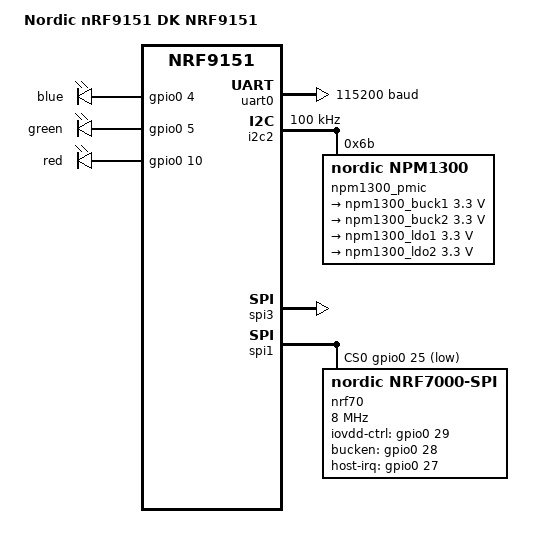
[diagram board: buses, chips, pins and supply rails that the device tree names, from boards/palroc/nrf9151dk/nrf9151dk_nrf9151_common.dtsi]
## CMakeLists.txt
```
#
# Copyright (c) 2016 Intel Corporation
#
# SPDX-License-Identifier: Apache-2.0
#

cmake_minimum_required(VERSION 3.20.0)
list(APPEND BOARD_ROOT ${CMAKE_CURRENT_SOURCE_DIR})
find_package(Zephyr REQUIRED HINTS $ENV{ZEPHYR_BASE})
project(nrf_connect_sdk_fundamentals)

target_sources(app PRIVATE
	src/main.c
	src/leds.c
	src/i2c_probe.c
	src/npm1300.c
	src/spi_probe.c
	src/modem.c
	src/gnss.c
	src/wifi_probe.c
	src/provisioning.c
	src/uart_chat.c
	src/test_report.c
	src/diag.c
)
```

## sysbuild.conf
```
# Disable MCUboot for bring-up builds.
# Without MCUboot, the app runs directly from address 0x0.
SB_CONFIG_BOOTLOADER_MCUBOOT=n

# nRF7000 Wi-Fi enablement. Per NCS 3.x docs, the nRF70 operating-mode
# and firmware-handling Kconfigs are FORCED from sysbuild — whatever we
# put in prj.conf for CONFIG_WIFI_NRF70 / CONFIG_NRF70_SCAN_ONLY /
# CONFIG_NRF_WIFI_PATCHES_BUILTIN is overridden by these SB_CONFIG_*
# equivalents. Sysbuild is the single source of truth for nrf70.
SB_CONFIG_WIFI_NRF70=y
SB_CONFIG_WIFI_NRF70_SCAN_ONLY=y
SB_CONFIG_WIFI_PATCHES_EXT_FLASH_DISABLED=y
```

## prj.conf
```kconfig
#
# Copyright (c) 2016 Intel Corporation
#
# SPDX-License-Identifier: Apache-2.0
#

# RTT console — routes printk() to RTT channel 0 via SWD, no UART needed
CONFIG_USE_SEGGER_RTT=y
CONFIG_RTT_CONSOLE=y
CONFIG_LOG_BACKEND_RTT=y

# Disable UART console
CONFIG_UART_CONSOLE=n
CONFIG_LOG_BACKEND_UART=n

CONFIG_LOG=y
CONFIG_CONSOLE=y

# %f support in LOG_INF/test_report — needed for the IMU accel m/s²
# readout. Picolibc defaults to integer-only printf to save flash.
CONFIG_CBPRINTF_FP_SUPPORT=y

# Inter-MCU link to the L15: nrf-sw-lpuart on the `dut-uart` alias
# (uart0 + REQ/RDY GPIO handshake — board-level wiring already done in
# the nova 9151 dtsi). The underlying UART_0_ASYNC + TIMER2 config
# lives in the board's _ns_defconfig; only the driver enable belongs
# here at app level.
CONFIG_NRF_SW_LPUART=y
CONFIG_NRF_SW_LPUART_INT_DRIVEN=y
CONFIG_UART_INTERRUPT_DRIVEN=y

# Bring-up: i2c2 + spi3 + GPIO for raw probes
CONFIG_I2C=y
CONFIG_SPI=y
CONFIG_GPIO=y
CONFIG_REGULATOR=y
CONFIG_SENSOR=y

# nPM1300 PMIC — read VBAT/NTC/IBAT via the npm13xx charger sensor driver.
# (Kconfig path is npm13xx, NOT npm1300 — driver was renamed in NCS 3.3.0.
# Note: the charger Kconfig is CONFIG_NPM1300_CHARGER, with no SENSOR_
# prefix — the sensor framework picks it up via the binding.)
CONFIG_MFD=y
CONFIG_MFD_NPM1300=y
CONFIG_REGULATOR_NPM1300=y
CONFIG_NPM1300_CHARGER=y

# Step 4 — minimal modem probe: just init + one AT command, no LTE attach.
CONFIG_NRF_MODEM_LIB=y

# Step 5 — LTE attach (NB-IoT preferred, Telekom DE).
# Step 10 — GNSS added to system_mode so AT+CFUN=31 actually has something
# to activate. NETWORK_MODE_NBIOT_GPS = NB-IoT + GNSS in system_mode (the
# plain NETWORK_MODE_NBIOT excludes GNSS, which made AT+CFUN=31 fail with
# CME error 65536 "ERROR" because there was no GNSS subsystem to wake up).
CONFIG_LTE_LINK_CONTROL=y
CONFIG_LTE_NETWORK_MODE_NBIOT_GPS=y
CONFIG_MAIN_STACK_SIZE=4096

# Diagnostics for the silent-reset during attach
CONFIG_HWINFO=y
CONFIG_LTE_LINK_CONTROL_LOG_LEVEL_INF=y
CONFIG_NRF_MODEM_LIB_LOG_LEVEL_INF=y
# 2048 (was 4096) — trimmed to claw back RAM for the nRF Cloud/CoAP
# stack added for A-GNSS. Log throughput is unaffected for our cadence.
CONFIG_LOG_BUFFER_SIZE=2048

# Step 13 — nRF7000 Wi-Fi (passive scan only, per the supply-margin
# constraint on nPM1300 BUCKs ~250 mA; see steps.md step 9).
#
# IMPORTANT: in NCS 3.x the nRF70 operating-mode + firmware-handling
# Kconfigs are FORCED from sysbuild — whatever we put in this file for
# CONFIG_WIFI_NRF70 / CONFIG_NRF70_* / CONFIG_NRF_WIFI_PATCHES_* is
# overridden by the SB_CONFIG_* equivalents in sysbuild.conf. Setting
# them here is at best redundant and at worst causes a duplicate-CMake-
# target build error. Only the generic networking + Wi-Fi mgmt + heap
# stay here.
CONFIG_NETWORKING=y
CONFIG_NET_L2_WIFI_MGMT=y
CONFIG_NET_MGMT=y
CONFIG_NET_MGMT_EVENT=y
CONFIG_NET_MGMT_EVENT_INFO=y
CONFIG_WIFI=y

# Heap for nrf70 patch + scratch buffers. Iterated down to 56 KB on the
# 9151 + TF-M-NS build (150K -> 96K -> 56K).
CONFIG_HEAP_MEM_POOL_SIZE=57344
CONFIG_SYSTEM_WORKQUEUE_STACK_SIZE=4096

# nRF7000's OTP MAC is unprogrammed on dev boards (`MAC addr not
# programmed in OTP`). Ask the driver to invent a locally-administered
# random MAC at startup so the netif can start. Removed for production
# builds (parts come MAC-provisioned from Nordic).
CONFIG_WIFI_RANDOM_MAC_ADDRESS=y

# === nRF Cloud base (shared by A-GNSS demo + the provisioning overlay) ===
CONFIG_NRF_CLOUD=y
CONFIG_NRF_CLOUD_CLIENT_ID_SRC_INTERNAL_UUID=y

# Device identity / JWT / key management (claim token, cert checks, JWT)
CONFIG_MODEM_JWT=y
CONFIG_MODEM_ATTEST_TOKEN=y
CONFIG_MODEM_KEY_MGMT=y
CONFIG_DATE_TIME=y

# Modem info — A-GNSS needs network/cell info (NRF_CLOUD_AGNSS depends on
# MODEM_INFO_ADD_NETWORK) and the provisioning auth path uses the modem
# firmware version.
CONFIG_MODEM_INFO=y
CONFIG_MODEM_INFO_ADD_NETWORK=y

# Sockets for the CoAP client + date_time. Routed to the modem via the
# nRF Modem lib's socket offload (cloud traffic over LTE, not the Wi-Fi
# native stack that coexists for the nRF7000 scan).
CONFIG_NET_SOCKETS=y

# CoAP client (used by nRF Cloud CoAP and by the provisioning overlay)
CONFIG_COAP=y
CONFIG_COAP_EXTENDED_OPTIONS_LEN=y
CONFIG_COAP_EXTENDED_OPTIONS_LEN_VALUE=192
CONFIG_COAP_CLIENT=y
CONFIG_COAP_CLIENT_BLOCK_SIZE=1024
CONFIG_COAP_CLIENT_MESSAGE_SIZE=1024
CONFIG_COAP_CLIENT_STACK_SIZE=4096
CONFIG_COAP_CLIENT_THREAD_PRIORITY=0

# Settings storage (NVS auto-carved from the app region by the partition
# manager — no storage partition in the board DT).
CONFIG_FLASH=y
CONFIG_FLASH_MAP=y
CONFIG_NVS=y
CONFIG_SETTINGS=y
CONFIG_SETTINGS_NVS=y

# === A-GNSS Stage C: nRF Cloud CoAP A-GNSS ===
# Connect to nRF Cloud over CoAP and fetch GNSS assistance to inject into
# the modem for a fast fix even on a weak/blocked-sky signal. Requires
# the device to be provisioned first (build once with
# overlay-provision.conf — see that file). FILTERED ephemerides shrink
# the download (only visible-satellite ephemerides) to save RAM.
CONFIG_NRF_CLOUD_COAP=y
CONFIG_NRF_CLOUD_AGNSS=y
CONFIG_NRF_CLOUD_AGNSS_FILTERED=y
CONFIG_NRF_CLOUD_COAP_KEEPOPEN=y
# NRF_CLOUD_COAP selects LTE_PROPRIETARY_PSM_REQ, which needs the PSM
# module of lte_link_control enabled.
CONFIG_LTE_LC_PSM_MODULE=y

# Don't push device-status/shadow info on connect. The CONN_INF section
# defaults on and its shadow PATCH timed out right after auth (-116 ->
# connect returns -EIO), which we don't need for A-GNSS. Disabling it
# (the other sections are already off) makes the derived
# NRF_CLOUD_SEND_SHADOW_INFO go n too, so connect succeeds on auth alone.
CONFIG_NRF_CLOUD_SEND_DEVICE_STATUS_CONN_INF=n

# NOTE: the heavy nrf_provisioning library (RX/TX buffers + CBOR codec +
# its thread) is NOT in this build — it doesn't fit in RAM alongside
# Wi-Fi + the CoAP A-GNSS stack, and it's only needed once per board.
# Provision a new board with -DEXTRA_CONF_FILE=overlay-provision.conf,
# then build the normal demo (this file) which just uses the installed
# credentials.
```

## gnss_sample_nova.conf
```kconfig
# Overlay to run the NCS cellular/gnss sample on the palroc nova EVT2
# board (A/B vs the nRF9151 DK). Two things the stock sample needs here:
#
# 1. COEX0 -> external GNSS LNA enable. The modem_antenna library applies
#    AT%XCOEX0 EARLY (before any modem activity), which is exactly what
#    the %XCOEX0 datasheet requires (configuring it late = COEX0 stays
#    0 V = LNA off, the bug we hit in the bring-up firmware).
#    GNSS_ONBOARD's default COEX0 string is "AT%XCOEX0=1,1,1565,1586"
#    (GPS L1, COEX0 high during GNSS RX) — exactly our LNA control.
#
#    These are now also nova-board defaults (Kconfig.defconfig), but
#    keep them here as a hard override so the sample is self-contained.
CONFIG_MODEM_ANTENNA=y
CONFIG_MODEM_ANTENNA_GNSS_ONBOARD=y

# Turn the modem_antenna lib's DBG log into INFO so we actually see the
# "Setting configuration: AT%XCOEX0=..." line at boot — proves the hook
# fired and the command was sent (don't have to guess).
CONFIG_MODEM_ANTENNA_LOG_LEVEL_DBG=y

# NOTE: Thingy:91 X also sets AT%XMIPIRFFEDEV / AT%XMIPIRFFECTRL for its
# MIPI-RFFE-controlled antenna tuner. User confirmed our EVT2 does NOT
# include that RFFE tuner IC (and the Thingy's npm6001/BLE/COEX2 side
# isn't on our board either), so these commands are not added here.

# 2. Console + logging over RTT — the nova board has no UART console
#    (uart0 is the sw-lpuart link). Read output in the J-Link RTT viewer.
CONFIG_USE_SEGGER_RTT=y
CONFIG_RTT_CONSOLE=y
CONFIG_UART_CONSOLE=n
CONFIG_LOG_BACKEND_RTT=y
CONFIG_LOG_BACKEND_UART=n
```

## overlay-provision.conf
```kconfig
# One-time nRF Cloud device provisioning overlay.
#
# The nrf_provisioning library (RX/TX buffers + CBOR codec + its thread)
# is too heavy to fit in RAM alongside Wi-Fi + the CoAP A-GNSS stack, and
# it's only needed ONCE per board. So provisioning lives here, in an
# overlay you build separately:
#
#   west build -b nrf9151_nova_evt2/nrf9151/ns -d build_provision -p \
#     -- -DCONF_FILE=prj.conf \
#        -DEXTRA_CONF_FILE=overlay-provision.conf \
#        -DBOARD_ROOT=/home/oriol/PALROC_dev/NMS/phase2-hw/palroc_nova
#   west flash -d build_provision
#
# Press Hall 2, wait for "provisioning complete", then build + flash the
# normal demo (prj.conf, no overlay) which uses the installed credentials
# for CoAP A-GNSS. provisioning_run() is compiled to a cert-check stub
# when this overlay is absent (CONFIG_NRF_PROVISIONING off).

CONFIG_NRF_PROVISIONING=y
CONFIG_NRF_PROVISIONING_COAP=y
CONFIG_NRF_PROVISIONING_AUTO_INIT=n
# Bundle the provisioning-service root CA; installed to tag 42 if empty.
CONFIG_NRF_PROVISIONING_WITH_CERT=y
CONFIG_NRF_PROVISIONING_ROOT_CA_SEC_TAG=42

# Provisioning message codec (CBOR)
CONFIG_NRF_PROVISIONING_CODEC=y
CONFIG_NRF_PROVISIONING_CBOR=y
CONFIG_ZCBOR=y
CONFIG_NRF_PROVISIONING_CBOR_RECORDS=20
CONFIG_NRF_PROVISIONING_RX_BUF_SZ=4096
CONFIG_NRF_PROVISIONING_TX_BUF_SZ=4096
CONFIG_NRF_PROVISIONING_CODEC_AT_CMD_LEN=2048

# The provisioning lib reboots after applying credentials, so sys_reboot()
# must be linkable.
CONFIG_REBOOT=y
```

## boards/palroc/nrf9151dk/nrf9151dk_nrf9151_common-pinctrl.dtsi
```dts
/*
 * Copyright (c) 2023 Nordic Semiconductor
 * SPDX-License-Identifier: Apache-2.0
 */

&pinctrl {
	uart0_default: uart0_default {
		group1 {
			psels = <NRF_PSEL(UART_TX, 0, 2)>,
				<NRF_PSEL(UART_RTS, 0, 6)>;
		};

		group2 {
			psels = <NRF_PSEL(UART_RX, 0, 3)>,
				<NRF_PSEL(UART_CTS, 0, 7)>;
			bias-pull-up;
		};
	};

	uart0_sleep: uart0_sleep {
		group1 {
			psels = <NRF_PSEL(UART_RX, 0, 3)>,
				<NRF_PSEL(UART_RTS, 0, 6)>,
				<NRF_PSEL(UART_CTS, 0, 7)>;
			low-power-enable;
		};

		group2 {
			psels = <NRF_PSEL(UART_TX, 0, 2)>;
			low-power-enable;
			bias-pull-up;
		};
	};

	i2c2_default: i2c2_default {
		group1 {
			psels = <NRF_PSEL(TWIM_SCL, 0, 8)>,
				<NRF_PSEL(TWIM_SDA, 0, 9)>;
			bias-pull-up;
		};
	};

	i2c2_sleep: i2c2_sleep {
		group1 {
			psels = <NRF_PSEL(TWIM_SCL, 0, 8)>,
				<NRF_PSEL(TWIM_SDA, 0, 9)>;
			low-power-enable;
		};
	};

	spi3_default: spi3_default {
		group1 {
			psels = <NRF_PSEL(SPIM_SCK,  0, 13)>,
				<NRF_PSEL(SPIM_MOSI, 0, 15)>,
				<NRF_PSEL(SPIM_MISO, 0, 14)>;
		};
	};

	spi3_sleep: spi3_sleep {
		group1 {
			psels = <NRF_PSEL(SPIM_SCK,  0, 13)>,
				<NRF_PSEL(SPIM_MOSI, 0, 15)>,
				<NRF_PSEL(SPIM_MISO, 0, 14)>;
			low-power-enable;
		};
	};

	/* SPI1 → nRF7000 Wi-Fi chip. Peripheral 1 chosen because peripherals
	 * 0 (uart0), 2 (i2c2), and 3 (spi3) are taken; only peripheral 1
	 * was free on the 9151's SERIAL constraint.
	 *   SCK  = P0.26
	 *   MOSI = P0.24
	 *   MISO = P0.23
	 *   CS   = P0.25 (managed via cs-gpios in &spi1, not pinctrl)
	 */
	spi1_default: spi1_default {
		group1 {
			psels = <NRF_PSEL(SPIM_SCK,  0, 26)>,
				<NRF_PSEL(SPIM_MOSI, 0, 24)>,
				<NRF_PSEL(SPIM_MISO, 0, 23)>;
		};
	};

	spi1_sleep: spi1_sleep {
		group1 {
			psels = <NRF_PSEL(SPIM_SCK,  0, 26)>,
				<NRF_PSEL(SPIM_MOSI, 0, 24)>,
				<NRF_PSEL(SPIM_MISO, 0, 23)>;
			low-power-enable;
		};
	};
};
```

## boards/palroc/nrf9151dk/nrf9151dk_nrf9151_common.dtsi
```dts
/*
 * Copyright (c) 2023 Nordic Semiconductor ASA
 *
 * SPDX-License-Identifier: Apache-2.0
 */
#include "nrf9151dk_nrf9151_common-pinctrl.dtsi"
#include <zephyr/dt-bindings/i2c/i2c.h>
#include <zephyr/dt-bindings/regulator/npm13xx.h>

/ {
	model = "Nordic nRF9151 DK NRF9151";
	compatible = "nordic,nrf9151-dk-nrf9151";

	chosen {
	};

	aliases {
		watchdog0 = &wdt0;
		led-blue  = &led_blue;
		led-green = &led_green;
		led-red   = &led_red;
	};

	/* On-board user LEDs driven through N-MOSFET low-side switches:
	 * GPIO high → MOSFET on → LED on, so they are active-high.
	 * (Confirmed by red LED behaviour during step 3 bring-up.)
	 */
	leds {
		compatible = "gpio-leds";

		led_blue: led_blue {
			gpios = <&gpio0 4 GPIO_ACTIVE_HIGH>;
			label = "blue";
		};

		led_green: led_green {
			gpios = <&gpio0 5 GPIO_ACTIVE_HIGH>;
			label = "green";
		};

		led_red: led_red {
			gpios = <&gpio0 10 GPIO_ACTIVE_HIGH>;
			label = "red";
		};
	};
};

/* uart0 must stay enabled — TF-M uses it during secure boot before handing
 * off to the non-secure app. Zephyr console is routed to RTT via prj.conf. */
&uart0 {
	status = "okay";
	current-speed = <115200>;
	pinctrl-0 = <&uart0_default>;
	pinctrl-1 = <&uart0_sleep>;
	pinctrl-names = "default", "sleep";
};

/* GPIO0 is disabled by default in nrf91_peripherals.dtsi — enable it so
 * the app can drive software CS pins (and any future GPIO-controlled
 * signals) via DEVICE_DT_GET(DT_NODELABEL(gpio0)).
 */
&gpio0 {
	status = "okay";
};

&gpiote {
	status = "okay";
};

/* Bare i2c2 bus on P0.08 (SCL) / P0.09 (SDA) — children added incrementally
 * as peripherals are brought up. App can grab the bus via DT_NODELABEL(i2c2).
 */
&i2c2 {
	compatible = "nordic,nrf-twim";
	status = "okay";
	clock-frequency = <I2C_BITRATE_STANDARD>;
	pinctrl-0 = <&i2c2_default>;
	pinctrl-1 = <&i2c2_sleep>;
	pinctrl-names = "default", "sleep";

	/* nPM1300 PMIC. Charger child exposes battery voltage, NTC temp,
	 * and average current via the Zephyr sensor API. The empty
	 * regulators block is required by the binding even if we don't
	 * actively control BUCK/LDO from software yet.
	 *
	 * Battery profile (term-microvolt / current-microamp) is a
	 * conservative placeholder — refine when an actual cell is profiled.
	 * Thermistor 10 kΩ NTC, β=3380 (typical Murata NCP15WB473D03RC);
	 * update if a different NTC is fitted.
	 */
	npm1300_pmic: npm1300@6b {
		compatible = "nordic,npm1300";
		reg = <0x6b>;

		regulators {
			compatible = "nordic,npm1300-regulator";

			/* `regulator-always-on` + `regulator-boot-on` tell Zephyr's
			 * regulator framework to leave these rails at whatever state
			 * the PMIC defaulted to at power-on, instead of gating them
			 * during driver init. Without these, enabling
			 * CONFIG_REGULATOR_NPM13XX caused the rail supplying the SPI
			 * flash + IMU to get reconfigured (flash regressed from
			 * EF 40 18 to 00 00 00 after the npm1300 driver was added).
			 */

			/* BUCK1 → nRF7000 VBAT.
			 * BUCK2 → nRF7000 VDDIO + 3V3 rail (W25Q128JV NOR flash,
			 *         LSM6DSO, etc.).
			 *
			 * Hard nRF7000 supply constraint: VBAT ≥ VDDIO (datasheet).
			 * Original design had BUCK1 = 1.8 V / BUCK2 = 3.3 V which
			 * violates this — VBAT < VDDIO breaks the chip. Software fix
			 * on the existing board: invert the rails so BUCK1 = 3.3 V
			 * (nRF7000 VBAT) and BUCK2 = 2.7 V (NOR flash floor: W25Q128JV
			 * spec'd 2.7–3.6 V), giving a 0.6 V VBAT-to-VDDIO margin.
			 *
			 * Power note: nPM1300 BUCKs are limited to ~250 mA each.
			 * nRF7000 active scan exceeds that, so when the Wi-Fi driver
			 * is added the scan code MUST use passive scan only (no probe-
			 * request TX) — see steps.md step 9.
			 */
			npm1300_buck1: BUCK1 {
				regulator-init-microvolt = <3300000>;
				regulator-min-microvolt = <3300000>;
				regulator-max-microvolt = <3300000>;
				regulator-always-on;
				regulator-boot-on;
			};
			npm1300_buck2: BUCK2 {
				regulator-init-microvolt = <3300000>;
				regulator-min-microvolt = <3300000>;
				regulator-max-microvolt = <3300000>;
				regulator-always-on;
				regulator-boot-on;
			};
			/* LDO1 → GNSS antenna LNA VDD.
			 * Kept at BUCK2 voltage (3.3 V) — COEX0 swings
			 * 0..VDDIO_GPIO = 0..BUCK2, so LDO1 must match.
			 * LDO mode (not load-switch) so the voltage is regulated,
			 * not VSYS passthrough. v2: 20 µF output cap for stability.
			 */
			npm1300_ldo1: LDO1 {
				regulator-initial-mode = <NPM13XX_LDSW_MODE_LDO>;
				regulator-allowed-modes = <NPM13XX_LDSW_MODE_LDO>;
				regulator-init-microvolt = <3300000>;
				regulator-min-microvolt  = <3300000>;
				regulator-max-microvolt  = <3300000>;
				regulator-always-on;
				regulator-boot-on;
			};
			/* LDO2 → BGS12SN6E6 RF switch VDD. Not needed for
			 * current bring-up; kept in DTS but left disabled.
			 */
			npm1300_ldo2: LDO2 {
				regulator-initial-mode = <NPM13XX_LDSW_MODE_LDO>;
				regulator-allowed-modes = <NPM13XX_LDSW_MODE_LDO>;
				regulator-init-microvolt = <3300000>;
				regulator-min-microvolt  = <3300000>;
				regulator-max-microvolt  = <3300000>;
			};
		};

		npm1300_charger: charger {
			compatible = "nordic,npm1300-charger";
			term-microvolt = <4150000>;       /* 4.15 V cv termination, conservative for typical 4.2 V LiPo */
			current-microamp = <150000>;      /* 150 mA charge current — gentle */
			dischg-limit-microamp = <1000000>; /* 200000 or 1000000 only */
			vbus-limit-microamp = <500000>;   /* USB 2.0 default */
			thermistor-ohms = <10000>;
			thermistor-beta = <3380>;
			/* charging-enable; — temporarily off while debugging
			 * SPI flash JEDEC failures. Charging itself was
			 * validated at 158 mA earlier (matched the 150 mA
			 * setting). Re-enable once the flash issue is
			 * understood, in case CC charging current was somehow
			 * disturbing BUCK2 rail and affecting SPI.
			 */
		};
	};
};

/* Bare spi3 bus on P0.13 (SCK) / P0.14 (MISO) / P0.15 (MOSI).
 * CS pins are managed in software per-device (IMU on P0.16, flash on P0.12).
 */
&spi3 {
	compatible = "nordic,nrf-spim";
	status = "okay";
	pinctrl-0 = <&spi3_default>;
	pinctrl-1 = <&spi3_sleep>;
	pinctrl-names = "default", "sleep";
};

/* SPI1 → nRF7000 Wi-Fi chip. CS=P0.25 active-low managed by the SPI driver
 * via cs-gpios. Bus speed starts conservative at 8 MHz; nRF70 supports up
 * to 32 MHz, but bring-up wants headroom against any signal-integrity
 * surprises on the new traces.
 *
 * Power-up sequencing (handled automatically by the nrf70 driver):
 *   1. Drive bucken-gpios HIGH  → TCK106AG load switch closes, BUCK rail
 *                                 inside the nRF7000 powers up
 *   2. Wait ~5 ms (driver-internal)
 *   3. Drive iovdd-ctrl-gpios HIGH → second TCK106AG closes, IOVDD rail
 *                                    powers up
 *   4. Wait ~5 ms
 *   5. SPI handshake + firmware patch upload
 *
 * TCK106AG is the active-HIGH variant ("G" suffix; "F" would be active-LOW)
 * — both gating signals therefore use GPIO_ACTIVE_HIGH. Verify with a
 * multimeter on the load-switch outputs after first build.
 *
 * RF antenna sharing: the same antenna feeds nRF7000 (Wi-Fi) and nRF54L15
 * (BLE) through a BGS12SN6E6 SPDT switch. Switch VDD is now wired to LDO2
 * (handled below — pinned at 2.9 V to match the COEX0/GPIO logic level
 * rule from step 11). The switch's VC pin is gated by an RV2C010UNT2L
 * MOSFET driven by SW_CTRL0. **Open question (steps.md TBD): which chip
 * drives SW_CTRL0?** If it's an L15 GPIO and the L15 is held in reset
 * (HOLD_L15_IN_RESET=1 in main.c, currently true), SW_CTRL0 is high-Z and
 * the antenna may not be routed to the Wi-Fi path during this test —
 * scan results may show no APs even if the chip itself initialises
 * cleanly. Resolve before expecting real scan output.
 */
&spi1 {
	compatible = "nordic,nrf-spim";
	status = "okay";
	pinctrl-0 = <&spi1_default>;
	pinctrl-1 = <&spi1_sleep>;
	pinctrl-names = "default", "sleep";
	cs-gpios = <&gpio0 25 GPIO_ACTIVE_LOW>;

	nrf70: nrf7000@0 {
		/* nordic,nrf7000-spi is the proper variant for nRF7000 (single-
		 * spatial-stream, IP-only). The driver supports 7000/7001/7002
		 * via the same nrf70 backend; the compatible just selects
		 * which TX-power table the binding requires.
		 */
		compatible = "nordic,nrf7000-spi";
		status = "okay";
		reg = <0>;
		spi-max-frequency = <8000000>;

		iovdd-ctrl-gpios = <&gpio0 29 GPIO_ACTIVE_HIGH>;
		bucken-gpios = <&gpio0 28 (GPIO_ACTIVE_HIGH | GPIO_PULL_DOWN)>;
		host-irq-gpios = <&gpio0 27 GPIO_ACTIVE_HIGH>;

		/* Required TX-power ceiling table. Values in dBm with 1 dBm
		 * resolution. These are the conservative defaults from
		 * Nordic's reference samples. We're scan-only on this board
		 * (no TX), so the exact ceilings don't matter operationally,
		 * but the binding requires them for compile-time validation.
		 * Tighten these only after RF characterisation.
		 */
		wifi-max-tx-pwr-2g-dsss = <21>;
		wifi-max-tx-pwr-2g-mcs0 = <16>;
		wifi-max-tx-pwr-2g-mcs7 = <16>;
		wifi-max-tx-pwr-5g-low-mcs0  = <13>;
		wifi-max-tx-pwr-5g-low-mcs7  = <13>;
		wifi-max-tx-pwr-5g-mid-mcs0  = <13>;
		wifi-max-tx-pwr-5g-mid-mcs7  = <13>;
		wifi-max-tx-pwr-5g-high-mcs0 = <12>;
		wifi-max-tx-pwr-5g-high-mcs7 = <12>;

		/* The driver looks for a `nordic,wlan` child node — without
		 * it, the build fails with `'DT_N_INST_0_nordic_wlan_FULL_NAME'
		 * undeclared`. The child is just the netif binding; the
		 * compatible alone is enough.
		 */
		wlan0: wlan0 {
			compatible = "nordic,wlan";
			status = "okay";
		};
	};
};

/* Include default memory partition configuration file */
#include <nordic/nrf91xx_partition.dtsi>
```

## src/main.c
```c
/*
 * Copyright (c) 2016 Intel Corporation
 *
 * SPDX-License-Identifier: Apache-2.0
 */

#include <zephyr/kernel.h>
#include <zephyr/logging/log.h>
#include <zephyr/device.h>
#include <zephyr/drivers/gpio.h>

#include "diag.h"
#include "leds.h"
#include "i2c_probe.h"
#include "npm1300.h"
#include "spi_probe.h"
#include "modem.h"
#include "gnss.h"
#include "wifi_probe.h"
#include "provisioning.h"
#include "uart_chat.h"
#include "test_report.h"

LOG_MODULE_REGISTER(main, LOG_LEVEL_INF);

/* Long initial pause AFTER the reset-reason print, so a host reconnecting
 * RTT after a silent reset has plenty of time to attach and capture the
 * cause line before any further activity buries it.
 */
#define POST_RESET_HOLD_MS 5000
#define BOOT_SETTLE_MS     500
#define INTER_PHASE_MS     100

/* Set to 1 to run a multi-band sweep instead of the single-band
 * low-power attach. The sweep iterates the bands[] array at the top of
 * modem_band_sweep() in modem.c, with a 90 s timeout per band, and logs
 * which ones attach + signal quality on each.
 */
#define RUN_BAND_SWEEP 0

/* GNSS probe toggle. 1 = include GNSS in the Hall-2 run (COEX0 LNA gate
 * + GPS system mode + CFUN=31 + continuous tracking + per-5s
 * satellite/CN0/fix log), right after modem_probe() and BEFORE the LTE
 * attach, modem returned to CFUN=0 at the end so the LTE phase starts
 * clean. 0 = skip it for the quick demo (GNSS needs outdoor sky view
 * and a cold first fix can take minutes). Flip to 1 + reflash when
 * validating the antenna/LNA path outdoors.
 */
#define RUN_GNSS_PROBE       1
#define GNSS_PROBE_DURATION  300

/* GNSS assistance mode. 1 = assisted (A-GNSS): fetch assistance from
 * nRF Cloud over CoAP and inject it for a fast fix even on weak/blocked
 * sky (requires the device provisioned — RUN_PROVISIONING). 0 = offline:
 * cold-start GNSS with no assistance (CFUN=31), needs strong open sky.
 * Only applies when RUN_GNSS_PROBE=1. */
#define GNSS_ASSISTED        0

/* A-GNSS Stage B: nRF Cloud OTA provisioning. 1 = run provisioning_run()
 * after the modem is up (one-time per board — it no-ops once the client
 * cert is installed, so it's safe to leave on). The device must already
 * be claimed on nRF Cloud with an auto-onboarding rule that queues the
 * cert commands. Set to 0 to skip provisioning entirely. */
#define RUN_PROVISIONING     0

/* SPI3 bus contention test: the nRF54L15 shares SPI3 lines (SCK/MOSI/MISO)
 * with the W25Q128JV flash and LSM6DSO IMU on this board. If the L15 is
 * booting (10 kΩ pull-up on its nRESET keeps it out of reset by default)
 * and its GPIOs do anything to those lines, we'd see exactly the corrupt-
 * but-deterministic SPI reads we observed (board#2=00s, board#1=17s).
 * Setting this to 1 drives 9151 P0.19 LOW, holding the L15 in reset and
 * leaving its GPIOs high-Z, so SPI3 becomes uncontested.
 *
 * Default 1 while debugging the SPI3 issue. Flip to 0 to bring the L15
 * back up (its 10 kΩ pull-up will hold nRESET high once we stop driving
 * P0.19 low).
 */
/* Set to 1 to drive P0.19 LOW (overriding the 10 kΩ pull-up on the L15
 * nRESET) so the L15 stays in reset and its GPIOs go high-Z. Used for
 * SPI3 bus contention debugging — leave at 0 once you actually want the
 * L15 to boot.
 */
#define HOLD_L15_IN_RESET 0
#define L15_NRESET_PIN    19

/* MPPT / energy-balance test mode. When set to 1, the bring-up skips the
 * entire normal demo and instead parks the board in its lowest readily-
 * achievable idle state so you can measure whether the solar MPPT
 * charges the battery faster than the system discharges it.
 *
 * What MPPT mode does (and doesn't do):
 *  + L15 held in reset (its GPIOs go high-Z, no draw)
 *  + nRF7000 BUCK_EN + IOVDD_CTL driven LOW (load switches OPEN — saves
 *    100+ mA vs the chip running, the big lever)
 *  + Modem never initialised (saves the ~3 mA modem idle current)
 *  + No SPI3 / I2C bus traffic except one nPM1300 sample per minute
 *  + 9151 spins in k_msleep so the kernel can enter its idle state
 *    between samples
 *  - NOT full Zephyr System OFF — that needs RTC wake-up plumbing and
 *    is out of scope for the "under 10 mA, quick test" target.
 *
 * Expected idle current: a few mA on the 9151 + a handful µA from the
 * idled PMIC + sub-mA from off peripherals = comfortably under 10 mA.
 * Measure on the battery line with a multimeter / PPK2; the VBAT trend
 * printed each minute also tells you net energy balance over time.
 */
#define RUN_MPPT_MODE          0
#define MPPT_SAMPLE_PERIOD_MS  60000

/* Set to 1 to run a single passive Wi-Fi scan via the nRF7000 on SPI1.
 * Logs every AP found (SSID / BSSID / channel / RSSI / security). The
 * driver handles BUCKEN + IOVDD-CTL + firmware patch upload internally;
 * the bring-up just needs a wifi_mgmt scan request. Passive-only is
 * enforced in the scan params because of the BUCK current limit
 * (steps.md step 9 / project_palroc_nrf7000_supply.md).
 *
 * Antenna note: the same antenna feeds both nRF7000 (Wi-Fi) and nRF54L15
 * (BLE) through a BGS12SN6E6 SPDT switch gated by SW_CTRL0 → RV2C010UNT2L.
 * If SW_CTRL0 is high-Z (because the L15 is in reset), the switch may not
 * route the antenna to the Wi-Fi path and we'll see zero APs even with a
 * healthy chip. To be resolved before expecting real scan output.
 */
/* Set to 1 to run a single passive Wi-Fi scan via the nRF7000 on SPI1.
 * Logs every AP found (SSID / BSSID / channel / RSSI / security). The
 * driver handles BUCKEN + IOVDD-CTL + firmware patch upload internally;
 * the bring-up just needs a wifi_mgmt scan request. Passive-only is
 * enforced in scan params (BUCK current limit, see steps.md step 9). */
#define RUN_WIFI_PROBE        1
#define WIFI_PROBE_TIMEOUT_S  30

/* ===== PER-BOARD TRACKING ============================================
 * Change BOARD_NUMBER for each physical board you flash. The number
 * appears in the test summary block at the end of every run, so per-
 * board comparisons are easy.
 *
 * Bump FW_VERSION_STRING when a meaningful firmware change happens
 * (new probe added, fix in a probe, etc.). The build timestamp from
 * __DATE__/__TIME__ disambiguates two builds with the same version
 * string on the same board.
 * ====================================================================
 */
#define BOARD_NUMBER       5
#define FW_VERSION_STRING  "0.15.0-step16-testreport"

/* Gate the whole probe sequence behind a Hall-2 press so the demo starts
 * on a deliberate trigger. Hall-2 is on P0.01, active-LOW (pressed = 0).
 * Polls at 50 ms intervals; the pin is configured as input with internal
 * pull-up (safe whether the sensor is open-drain or push-pull). */
#define HALL2_PIN              1
#define HALL2_POLL_INTERVAL_MS 50

/* Park the board in MPPT idle: L15 in reset, nRF7000 powered down, no
 * modem, sample the PMIC once per MPPT_SAMPLE_PERIOD_MS. Never returns.
 * Called from main() under RUN_MPPT_MODE.
 */
static void mppt_mode_run(void)
{
	LOG_INF("=== MPPT MODE ===");
	LOG_INF("L15 held in reset, nRF7000 powered down, modem off.");
	LOG_INF("Sampling nPM1300 every %d s. Watch VBAT trend for energy balance.",
		MPPT_SAMPLE_PERIOD_MS / 1000);

	const struct device *gpio0 = DEVICE_DT_GET(DT_NODELABEL(gpio0));
	if (device_is_ready(gpio0)) {
		gpio_pin_configure(gpio0, L15_NRESET_PIN, GPIO_OUTPUT_LOW);
		LOG_INF("L15 nRESET = LOW (P0.%d)", L15_NRESET_PIN);
	}

	wifi_emergency_off();
	LOG_INF("nRF7000 BUCK_EN + IOVDD_CTL = LOW (chip unpowered)");

	uint32_t sample = 0;
	while (1) {
		sample++;
		LOG_INF("--- MPPT sample %u  (t=%llds) ---",
			sample, k_uptime_get() / 1000);
		npm1300_probe();
		k_msleep(MPPT_SAMPLE_PERIOD_MS);
	}
}

static void wait_for_hall2_press(void)
{
	const struct device *gpio0 = DEVICE_DT_GET(DT_NODELABEL(gpio0));

	if (!device_is_ready(gpio0)) {
		LOG_ERR("gpio0 not ready, cannot read Hall 2 — running anyway");
		return;
	}
	(void)gpio_pin_configure(gpio0, HALL2_PIN, GPIO_INPUT | GPIO_PULL_UP);

	LOG_INF("waiting for Hall 2 (P0.%d) press to start the demo...",
		HALL2_PIN);
	uint32_t ticks = 0;
	while (gpio_pin_get(gpio0, HALL2_PIN) != 0) {
		k_msleep(HALL2_POLL_INTERVAL_MS);
		ticks++;
		if (ticks % (1000 / HALL2_POLL_INTERVAL_MS) == 0) {
			LOG_INF("  still waiting on Hall 2 (t=%u s)...",
				ticks / (1000 / HALL2_POLL_INTERVAL_MS));
		}
	}
	LOG_INF("Hall 2 pressed — starting demo");
}

/* Inter-MCU link callback. Watches for BLE_READY / BLE_FAIL replies
 * from the L15 in response to our BLE_START request and unblocks the
 * demo flow via ble_ready_sem. Runs on the system workqueue (NOT in
 * ISR context), so it's safe to do work-y things in here. */
static K_SEM_DEFINE(ble_ready_sem, 0, 1);
static char ble_peer_name[UART_CHAT_LINE_MAX];
static int  ble_peer_status; /* 0 = OK, -1 = FAIL */

static void on_uart_line(const char *line)
{
	LOG_INF("[uart] <- L15: \"%s\"", line);

	if (strncmp(line, "BLE_READY ", 10) == 0) {
		strncpy(ble_peer_name, line + 10, sizeof(ble_peer_name) - 1);
		ble_peer_name[sizeof(ble_peer_name) - 1] = '\0';
		ble_peer_status = 0;
		k_sem_give(&ble_ready_sem);
	} else if (strncmp(line, "BLE_FAIL", 8) == 0) {
		strncpy(ble_peer_name, line, sizeof(ble_peer_name) - 1);
		ble_peer_name[sizeof(ble_peer_name) - 1] = '\0';
		ble_peer_status = -1;
		k_sem_give(&ble_ready_sem);
	}
}

/* Phase 5 of the demo: tell the L15 to start BLE, wait for its ACK
 * containing the advertised name. Times out after 10 s (covers
 * bt_enable's worst case + workqueue scheduling). */
static void trigger_l15_ble(void)
{
	LOG_INF("--- Triggering L15 BLE advertising ---");
	k_sem_reset(&ble_ready_sem);
	ble_peer_status = -1;
	ble_peer_name[0] = '\0';

	uart_chat_send("BLE_START");

	int err = k_sem_take(&ble_ready_sem, K_SECONDS(10));
	if (err) {
		LOG_ERR("BLE_READY timeout — no reply from L15");
		test_report("ble_trigger", TEST_FAIL, "timeout");
		return;
	}
	if (ble_peer_status != 0) {
		LOG_ERR("L15 reported BLE failure: %s", ble_peer_name);
		test_report("ble_trigger", TEST_FAIL, "L15 said: %s",
			    ble_peer_name);
		return;
	}
	LOG_INF("L15 is advertising as \"%s\"", ble_peer_name);
	test_report("ble_trigger", TEST_PASS, "L15: %s", ble_peer_name);
}

int main(void)
{
	LOG_INF("nRF9151 bring-up start  BOARD=%d  fw=%s  built=%s %s",
		BOARD_NUMBER, FW_VERSION_STRING, __DATE__, __TIME__);
	diag_print_reset_reason();

#if RUN_MPPT_MODE
	/* MPPT mode owns the board — skip the whole demo and just park idle
	 * while the PMIC reports the battery trend. Never returns. */
	mppt_mode_run();
#endif

#if HOLD_L15_IN_RESET
	{
		const struct device *gpio0 = DEVICE_DT_GET(DT_NODELABEL(gpio0));

		if (device_is_ready(gpio0)) {
			gpio_pin_configure(gpio0, L15_NRESET_PIN,
					   GPIO_OUTPUT_LOW);
			LOG_INF("nRF54L15 held in reset (P0.%d driven LOW) "
				"to isolate SPI3 bus", L15_NRESET_PIN);
		} else {
			LOG_ERR("gpio0 not ready, can't hold L15 in reset");
		}
	}
#endif

	/* Hold here so RTT viewers reconnecting after a silent reset can
	 * grab the cause line above before everything else moves on.
	 */
	LOG_INF("post-reset hold: %d ms (reconnect RTT now if needed)...",
		POST_RESET_HOLD_MS);
	k_msleep(POST_RESET_HOLD_MS);

	boot_indicator();
	k_msleep(BOOT_SETTLE_MS);

	/* Bring the inter-MCU link up at boot so the L15 is ready to receive
	 * the instant we send. We don't send anything yet — the actual
	 * exchange is triggered by the Hall 2 press below, so the RTT
	 * timeline reads as: silent boot -> Hall press -> handshake. */
	(void)uart_chat_init(on_uart_line);

	/* Demo loop: every Hall 2 press kicks off the whole sequence —
	 * modem -> LTE -> i2c/spi probes -> IMU -> Wi-Fi scan -> nRF7000
	 * powered down -> tell the L15 to start BLE -> log the advertised
	 * name. Modem and Wi-Fi will report errors on the second iteration
	 * (already initialised) — that's expected, the demo is mainly
	 * useful on the first press; the IMU/UART/BLE bits stay
	 * idempotent across re-runs. */
	while (1) {
	wait_for_hall2_press();

	LOG_INF("--- Modem (init + AT only) ---");
	modem_probe();
	k_msleep(INTER_PHASE_MS);

	/* Print the nRF Cloud claim token to RTT (one-time onboarding step
	 * for A-GNSS). Harmless to leave in — it's the same token each boot.
	 * Remove once all boards are claimed if you want a quieter log. */
	modem_print_attest_token();
	k_msleep(INTER_PHASE_MS);

#if RUN_PROVISIONING
	/* A-GNSS Stage B: OTA-install the nRF Cloud device credentials.
	 * Idempotent — no-ops once the client cert is present, so this only
	 * does real work on the first run after the device is claimed. */
	LOG_INF("--- nRF Cloud provisioning check ---");
	provisioning_run();
	k_msleep(INTER_PHASE_MS);
#endif

#if RUN_GNSS_PROBE
#if GNSS_ASSISTED
	gnss_probe_assisted(GNSS_PROBE_DURATION);
#else
	gnss_probe(GNSS_PROBE_DURATION);
#endif
	k_msleep(INTER_PHASE_MS);
#endif

	/* Test both radio access technologies: LTE-M then NB-IoT, all bands,
	 * 90 s timeout each. EVT2 supply is solid, so no band-lock or TX
	 * back-off needed. Files lte_m_attach + nbiot_attach test reports.
	 *
	 * Other modem options (kept in modem.c) if you need them:
	 *   modem_band_sweep()         — per-band attach sweep diagnostic
	 *   modem_lte_attach_lowpower()— single-band + TX back-off (old boards)
	 *   modem_cfun4_soak(60)       — RF-off supply isolation soak
	 */
#if RUN_BAND_SWEEP
	LOG_INF("--- LTE band sweep ---");
	modem_band_sweep();
#else
	LOG_INF("--- LTE attach (LTE-M + NB-IoT) ---");
	modem_lte_attach_both();
#endif
	k_msleep(INTER_PHASE_MS);

	LOG_INF("--- I2C2 scan ---");
	i2c_scan();
	k_msleep(INTER_PHASE_MS);

	LOG_INF("--- nPM1300 read (VBAT / NTC / IBAT) ---");
	/* Wait until the 15 s boot mark before reading. The PMIC's ADC and
	 * gauge state can need a moment to settle after power-on; reading
	 * too early gave us a dropped/garbled sample line on the first
	 * attempt. 15 s is plenty of headroom and synchronises the read
	 * with PPK2 captures.
	 */
	{
		const int64_t target_ms = 15000;
		int64_t now = k_uptime_get();

		if (now < target_ms) {
			LOG_INF("waiting %lld ms until t=15s for PMIC settle...",
				target_ms - now);
			k_msleep(target_ms - now);
		}
	}
	npm1300_probe();
	k_msleep(INTER_PHASE_MS);

	LOG_INF("--- SPI3 flash @ CS=P0.12 ---");
	spi_flash_jedec();
	k_msleep(INTER_PHASE_MS);

	/* LSM6DSO IMU. EVT2 moved it off SPI3 onto i2c2 — pick the probe by
	 * whether the board DT has an `lsm6dso` node (present on EVT2, absent
	 * on EVT1 where the IMU is a raw-SPI device with no DT child). */
#if DT_NODE_HAS_STATUS(DT_NODELABEL(lsm6dso), okay)
	LOG_INF("--- I2C2 IMU @ 0x6a (EVT2) ---");
	i2c_imu_whoami();
	/* Real-data smoke test: read one accelerometer sample and log it
	 * in m/s². With the board flat you should see ~9.81 on Z (or
	 * whichever axis is vertical for your orientation). */
	i2c_imu_accel_read();
#else
	LOG_INF("--- SPI3 IMU @ CS=P0.16 (EVT1) ---");
	spi_imu_whoami();
#endif
	k_msleep(INTER_PHASE_MS);

#if RUN_WIFI_PROBE
	LOG_INF("--- nRF7000 passive Wi-Fi scan ---");
	wifi_passive_scan(WIFI_PROBE_TIMEOUT_S);
	k_msleep(INTER_PHASE_MS);

	/* Phase 4: power the Wi-Fi chip fully down. Drives BUCK_EN +
	 * IOVDD_CTL low so the TCK106AG load switches open — visible on
	 * the PPK2 as a ~200 mA drop. The BLE handoff happens against a
	 * clean current baseline. */
	LOG_INF("--- nRF7000 power-down ---");
	wifi_emergency_off();
	test_report("wifi_off", TEST_PASS,
		    "BUCK_EN + IOVDD_CTL low — chip unpowered");
	k_msleep(INTER_PHASE_MS);
#endif

	/* Phase 5: now that Wi-Fi is done and powered off, tell the L15 to
	 * start BLE. The L15 has been running the whole time but with its
	 * BLE radio off; it starts advertising on this BLE_START and
	 * replies BLE_READY <name>. */
	trigger_l15_ble();
	k_msleep(INTER_PHASE_MS);

	LOG_INF("--- LEDs walk ---");
	leds_walk();

#if !RUN_BAND_SWEEP
	/* Tag SKIP for any test that wasn't actually run this build, so the
	 * summary table makes the build-time configuration obvious rather
	 * than silently omitting them.
	 */
	test_report("band_sweep", TEST_SKIP, "RUN_BAND_SWEEP=0");
#endif
#if !RUN_GNSS_PROBE
	test_report("gnss", TEST_SKIP, "RUN_GNSS_PROBE=0");
#endif
#if !RUN_WIFI_PROBE
	test_report("wifi", TEST_SKIP, "RUN_WIFI_PROBE=0");
#endif

	LOG_INF("--- demo iteration complete; press Hall 2 again to re-run ---");
	test_report_summary(BOARD_NUMBER, FW_VERSION_STRING);

	/* Debounce: small idle so a slow magnet release doesn't immediately
	 * re-trigger the next wait_for_hall2_press(). */
	k_msleep(2000);
	}
	return 0;
}
```

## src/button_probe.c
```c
#include <zephyr/kernel.h>
#include <zephyr/logging/log.h>
#include <zephyr/drivers/gpio.h>

#include "button_probe.h"
#include "test_report.h"

LOG_MODULE_REGISTER(button, LOG_LEVEL_INF);

/* Two hall sensors, both on GPIO0 (names per the schematic):
 *   hall2 = P0.01 — characterised: active-LOW (open-drain), pin LOW = pressed
 *   hall1 = P0.00 — KNOWN BROKEN on the current board (assembly issue;
 *                   parked, fix on next board spin / rework). Probe still
 *                   reads it so we have a record, but transitions on hall1
 *                   are not expected to make sense.
 *
 * Each sensor mirrors to a different LED so you can wave a magnet over each
 * one independently and tell them apart visually. Red is reserved for the
 * boot indicator + future error/alarm signalling, so we use:
 *   hall2 → blue  LED
 *   hall1 → green LED  (will not toggle in practice — sensor is broken)
 *
 * The probe logs each transition with timestamp + sensor ID + new level.
 */
#define HALL2_PIN  1
/* FIXME(hardware): hall1 (P0.00) is broken on this board — likely an
 * assembly defect (same class as the LED MOSFET issue / SPI3 traces).
 * The pin is read so we can keep a record of its state in the log, but
 * its transitions are not expected to make sense. To be fixed on the
 * next board spin / rework. Don't rely on hall1 for any production logic
 * until then.
 */
#define HALL1_PIN  0

#define LED_BLUE_NODE  DT_ALIAS(led_blue)
#define LED_GREEN_NODE DT_ALIAS(led_green)

static const struct gpio_dt_spec led_blue  = GPIO_DT_SPEC_GET(LED_BLUE_NODE,  gpios);
static const struct gpio_dt_spec led_green = GPIO_DT_SPEC_GET(LED_GREEN_NODE, gpios);

void button_probe(int duration_seconds)
{
	const struct device *gpio0 = DEVICE_DT_GET(DT_NODELABEL(gpio0));

	if (!device_is_ready(gpio0)) {
		LOG_ERR("gpio0 not ready");
		return;
	}

	/* Internal pull-up is safe with both push-pull and open-drain
	 * sensors: a push-pull output overrides our weak pull-up easily,
	 * and an open-drain sensor's HIGH state needs the pull-up to be
	 * defined at all.
	 */
	int err0 = gpio_pin_configure(gpio0, HALL2_PIN, GPIO_INPUT | GPIO_PULL_UP);
	int err1 = gpio_pin_configure(gpio0, HALL1_PIN, GPIO_INPUT | GPIO_PULL_UP);

	if (err0 || err1) {
		LOG_ERR("gpio_pin_configure: hall2=%d hall1=%d", err0, err1);
		return;
	}

	if (device_is_ready(led_blue.port)) {
		gpio_pin_configure_dt(&led_blue,  GPIO_OUTPUT_INACTIVE);
	}
	if (device_is_ready(led_green.port)) {
		gpio_pin_configure_dt(&led_green, GPIO_OUTPUT_INACTIVE);
	}

	int last0 = gpio_pin_get(gpio0, HALL2_PIN);
	int last1 = gpio_pin_get(gpio0, HALL1_PIN);
	int trans0 = 0;
	int trans1 = 0;
	int64_t end_at = k_uptime_get() + duration_seconds * 1000LL;
	int64_t next_heartbeat = k_uptime_get() + 1000LL;

	LOG_INF("--- hall probe: hall2=P0.%d (blue LED), hall1=P0.%d (green LED), %d s ---",
		HALL2_PIN, HALL1_PIN, duration_seconds);
	LOG_WRN("  hall1 is KNOWN BROKEN on this board — transitions on it should be ignored");
	LOG_INF("  resting levels: hall2=%d  hall1=%d", last0, last1);

	while (k_uptime_get() < end_at) {
		int level0 = gpio_pin_get(gpio0, HALL2_PIN);
		int level1 = gpio_pin_get(gpio0, HALL1_PIN);

		if (level0 != last0) {
			trans0++;
			LOG_INF("  t=%5lldms  hall2 (P0.%d) %d → %d  (transitions: %d)",
				k_uptime_get(), HALL2_PIN, last0, level0, trans0);
			last0 = level0;
		}
		if (level1 != last1) {
			trans1++;
			LOG_INF("  t=%5lldms  hall1 (P0.%d) %d → %d  (transitions: %d)",
				k_uptime_get(), HALL1_PIN, last1, level1, trans1);
			last1 = level1;
		}

		/* LEDs mirror raw pin level: 1 = LED on, 0 = LED off.
		 * With the active-LOW hall2 sensor at rest, blue LED is on;
		 * magnet near drops the pin to 0 and the LED turns off. The
		 * LED tracks the line state, not "magnet near".
		 */
		if (device_is_ready(led_blue.port)) {
			gpio_pin_set_dt(&led_blue,  level0);
		}
		if (device_is_ready(led_green.port)) {
			gpio_pin_set_dt(&led_green, level1);
		}

		if (k_uptime_get() >= next_heartbeat) {
			LOG_INF("  hb: hall2=%d (trans %d)  hall1=%d (trans %d)",
				level0, trans0, level1, trans1);
			next_heartbeat += 1000LL;
		}

		k_msleep(2);
	}

	if (device_is_ready(led_blue.port)) {
		gpio_pin_set_dt(&led_blue, 0);
	}
	if (device_is_ready(led_green.port)) {
		gpio_pin_set_dt(&led_green, 0);
	}

	LOG_INF("--- hall probe complete: hall2=%d transitions, hall1=%d transitions in %d s ---",
		trans0, trans1, duration_seconds);
	if (trans0 == 0 && trans1 == 0) {
		LOG_WRN("  no transitions on either pin — magnet weak / wrong pins / sensors not connected?");
	}

	/* hall2 is the working sensor — pass criterion is "any transition seen
	 * during the probe" (i.e. user actually waved a magnet). hall1 is
	 * known-broken on this board and reports as INFO regardless.
	 */
	test_report("hall2", trans0 > 0 ? TEST_PASS : TEST_FAIL,
		    "%d transitions in %ds, rest=%d",
		    trans0, duration_seconds, last0);
	test_report("hall1", TEST_INFO,
		    "%d transitions (sensor known broken)", trans1);
}
```

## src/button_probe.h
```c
#ifndef BUTTON_PROBE_H
#define BUTTON_PROBE_H

/* Visualise the hall-sensor button on P0.01 for `duration_seconds`.
 * Configures the pin as input with an internal pull-up (safe whether the
 * sensor is open-drain or push-pull) and logs every level transition,
 * plus a 1-Hz heartbeat showing the current level. Mirrors the level to
 * the red LED for live feedback while you wave a magnet over it.
 *
 * Output tells you:
 *   - the resting level (idle reading: HIGH or LOW)
 *   - the active level (changes when magnet is near)
 *   - whether each magnet pass produces 1 transition or several
 *     (bouncy / multi-pole magnet behaviour shows up here)
 *   - the total transitions over the test window
 */
void button_probe(int duration_seconds);

#endif
```

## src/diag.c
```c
#include <zephyr/kernel.h>
#include <zephyr/sys/printk.h>
#include <zephyr/drivers/hwinfo.h>
#include <zephyr/logging/log.h>

#include "diag.h"

LOG_MODULE_REGISTER(diag, LOG_LEVEL_INF);

void diag_print_reset_reason(void)
{
	uint32_t cause = 0;
	int ret = hwinfo_get_reset_cause(&cause);

	if (ret) {
		LOG_WRN("hwinfo_get_reset_cause not supported: %d", ret);
		return;
	}

	/* Mirror via printk so the cause hits RTT immediately, even before the
	 * deferred LOG thread runs — survives RTT reconnects after a silent
	 * reset where the LOG queue might be drained slowly.
	 */
	printk("\n*** RESET CAUSE BITMAP: 0x%08x ***\n\n", cause);

	if (cause == 0) {
		LOG_INF("reset cause: 0 (cold start / cleared)");
	} else {
		LOG_INF("reset cause bitmap: 0x%08x", cause);
		if (cause & RESET_PIN)            LOG_INF("  - PIN reset");
		if (cause & RESET_SOFTWARE)       LOG_INF("  - SOFTWARE reset (sys_reboot/fault)");
		if (cause & RESET_BROWNOUT)       LOG_INF("  - BROWNOUT reset (supply dropped!)");
		if (cause & RESET_POR)            LOG_INF("  - POR (power-on reset)");
		if (cause & RESET_WATCHDOG)       LOG_INF("  - WATCHDOG reset");
		if (cause & RESET_DEBUG)          LOG_INF("  - DEBUG reset");
		if (cause & RESET_SECURITY)       LOG_INF("  - SECURITY reset");
		if (cause & RESET_LOW_POWER_WAKE) LOG_INF("  - LOW_POWER_WAKE");
		if (cause & RESET_CPU_LOCKUP)     LOG_INF("  - CPU LOCKUP");
		if (cause & RESET_PARITY)         LOG_INF("  - PARITY error");
		if (cause & RESET_PLL)            LOG_INF("  - PLL lock loss");
		if (cause & RESET_CLOCK)          LOG_INF("  - CLOCK error");
		if (cause & RESET_HARDWARE)       LOG_INF("  - generic HARDWARE");
		if (cause & RESET_USER)           LOG_INF("  - USER");
		if (cause & RESET_TEMPERATURE)    LOG_INF("  - TEMPERATURE");
	}

	/* Clear so the next reset's cause is independent. */
	hwinfo_clear_reset_cause();
}

/* Heartbeat: prove the kernel is still alive while main is blocked on
 * lte_lc_connect. If the heartbeats stop, something killed the system;
 * if they keep going past the silent point, main is just waiting.
 */
static void heartbeat_thread_fn(void *a, void *b, void *c)
{
	ARG_UNUSED(a); ARG_UNUSED(b); ARG_UNUSED(c);
	while (1) {
		LOG_INF("heartbeat @ %lld ms", k_uptime_get());
		k_sleep(K_SECONDS(2));
	}
}

K_THREAD_DEFINE(heartbeat_id, 1024, heartbeat_thread_fn,
		NULL, NULL, NULL, K_PRIO_PREEMPT(7), 0, 0);
```

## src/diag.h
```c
#ifndef DIAG_H
#define DIAG_H

/* Log the reset reason from the SoC's RESETREAS register (via hwinfo).
 * Call once at the very start of main, before doing anything else, so
 * the cause of the previous reset is preserved.
 */
void diag_print_reset_reason(void);

#endif
```

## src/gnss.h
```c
#ifndef GNSS_H
#define GNSS_H

/* Run a GNSS bring-up test for `duration_seconds`. Configures COEX0 to
 * enable the external LNA (palroc board's GNSS antenna LNA is powered
 * from nPM1300 LDO1 and gated by COEX0), switches the modem to
 * GNSS-only mode (CFUN=31), starts continuous tracking, and logs every
 * 5 seconds: number of SVs being tracked, best CN0, and fix state.
 * Stops GNSS at the end and parks the modem in CFUN=0.
 *
 * Requires the modem already initialised via nrf_modem_lib_init()
 * (i.e. modem_probe() must have been called first).
 */
void gnss_probe(int duration_seconds);

/* Assisted GNSS (A-GNSS). Like gnss_probe() but fetches assistance data
 * (ephemerides/almanac/time/location) from nRF Cloud over CoAP and
 * injects it into the modem for a fast first fix even on weak/blocked
 * sky. Uses LTE-M + GPS coexistence (CFUN=1), so it attaches LTE and
 * connects to nRF Cloud first — requires the device to be provisioned
 * (see provisioning_run()). Stops early once a fix is acquired. Parks
 * the modem at CFUN=0 on exit.
 */
void gnss_probe_assisted(int duration_seconds);

#endif
```

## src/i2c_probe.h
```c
#ifndef I2C_PROBE_H
#define I2C_PROBE_H

#include <stdbool.h>

/* Returns true if i2c2 is ready to use. */
bool i2c_probe_ready(void);

/* Scan i2c2 from 0x03..0x77 using zero-byte writes; logs each ACK. */
void i2c_scan(void);

/* Read LSM6DSO WHO_AM_I over i2c2 (addr 0x6a, EVT2 wiring), log + PASS/FAIL.
 * EVT2 moved the IMU off SPI3 onto i2c2; the SPI variant is
 * spi_imu_whoami() and is selected on EVT1 (see main.c). */
void i2c_imu_whoami(void);

/* Configure the LSM6DSO accelerometer (104 Hz, +/-2 g), take a burst of
 * samples (~1 s), log the last 10 individual readings in m/s² and the
 * average over the whole burst. Averaging tightens the at-rest |g| to
 * near 9.81; PASS/FAIL keys off the averaged |g| being in [8.5, 11.0]. */
void i2c_imu_accel_read(void);

#endif
```

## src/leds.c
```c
#include <zephyr/kernel.h>
#include <zephyr/device.h>
#include <zephyr/drivers/gpio.h>
#include <zephyr/logging/log.h>

#include "leds.h"

LOG_MODULE_REGISTER(leds, LOG_LEVEL_INF);

static const struct gpio_dt_spec led_blue =
	GPIO_DT_SPEC_GET(DT_NODELABEL(led_blue), gpios);
static const struct gpio_dt_spec led_green =
	GPIO_DT_SPEC_GET(DT_NODELABEL(led_green), gpios);
static const struct gpio_dt_spec led_red =
	GPIO_DT_SPEC_GET(DT_NODELABEL(led_red), gpios);

void boot_indicator(void)
{
	if (!gpio_is_ready_dt(&led_red)) {
		return;
	}
	gpio_pin_configure_dt(&led_red, GPIO_OUTPUT_INACTIVE);
	gpio_pin_set_dt(&led_red, 1);
	k_msleep(1000);
	gpio_pin_set_dt(&led_red, 0);
}

static void blink_one(const struct gpio_dt_spec *led, const char *name)
{
	if (!gpio_is_ready_dt(led)) {
		LOG_ERR("led %s not ready", name);
		return;
	}

	int ret = gpio_pin_configure_dt(led, GPIO_OUTPUT_INACTIVE);

	if (ret) {
		LOG_ERR("led %s configure failed: %d", name, ret);
		return;
	}

	for (int i = 0; i < 3; i++) {
		LOG_INF("  %s ON",  name); gpio_pin_set_dt(led, 1); k_msleep(1000);
		LOG_INF("  %s OFF", name); gpio_pin_set_dt(led, 0); k_msleep(1000);
	}
}

void leds_walk(void)
{
	LOG_INF("LED walk: blue -> green -> red (3x each)");
	blink_one(&led_blue,  "blue");
	blink_one(&led_green, "green");
	blink_one(&led_red,   "red");
}
```
